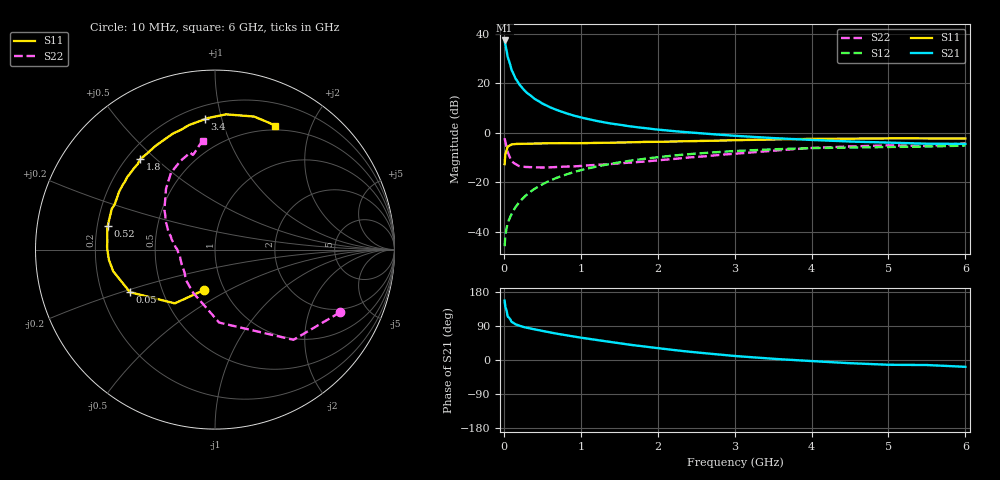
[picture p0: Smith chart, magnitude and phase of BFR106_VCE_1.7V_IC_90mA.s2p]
! Infineon Technologies  Discrete & RF Semiconductors
! BFR106
! VCE =  1.7 V,  IC =  90 mA
! Common Emitter S-Parameters:  Nov 2015
# GHz  S  MA  R  50
!  f  S11  S21  S12  S22
! GHz  MAG  ANG  MAG  ANG  MAG  ANG  MAG  ANG
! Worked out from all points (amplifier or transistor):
!   210 points, 10 MHz to 6 GHz, reference 50 ohm
!   highest |S21| = 37.3 dB at 10 MHz (marker M1)
!   |S21| within 3 dB of that: start of sweep to 28.77 MHz
!   unconditionally stable (mu >= 1): 138.8 MHz to end of sweep
!   at 185 MHz: K = 1.05, MAG = 23.2 dB, |S12| = -28.7 dB
!   at 1.52 GHz: K = 1.08, MAG = 5.8 dB, |S12| = -11.9 dB
!   at 6 GHz: K = 1.02, MAG = -0.6 dB, |S12| = -5.2 dB
!   S11 on the Smith chart (normalised r, x): 10 MHz: 0.81, -0.38; 50 MHz: 0.32, -0.21; 520 MHz: 0.24, +0.10; 1.8 GHz: 0.25, +0.45; 3.4 GHz: 0.29, +0.88; 6 GHz: 0.45, +1.51
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0.01  0.2328 -104.9  73.58 156.7  0.0051 71.8  0.7798 -26.6
0.02  0.3739 -126.8  60.56 139.6  0.0085 64.6  0.6661 -49.0
0.05  0.5293 -153.3  34.28 114.7  0.0148 59.6  0.4074 -86.7
0.1  0.58 -168.0  18.67 100.7  0.0227 65.1  0.2687 -117.2
0.15  0.5937 -174.4  12.64 94.3  0.031 68.5  0.2339 -134.0
0.2  0.5982 -178.3  9.59 90.4  0.0391 70.8  0.212 -143.3
0.24  0.6009 179.1  8.051 88.0  0.0461 71.6  0.2062 -149.8
0.26  0.6016 178.0  7.418 86.8  0.0495 72.1  0.2047 -152.4
0.3  0.601 176.5  6.416 84.9  0.0564 73.1  0.2033 -155.8
0.4  0.6066 171.9  4.855 80.7  0.0736 73.2  0.2002 -163.3
0.52  0.6122 167.5  3.784 75.9  0.094 72.3  0.1987 -168.9
0.6  0.6127 164.9  3.284 72.8  0.108 71.5  0.2001 -171.1
0.7  0.6144 161.5  2.842 68.9  0.125 70.1  0.2043 -174.2
1.02  0.6192 151.4  2.013 58.4  0.1782 65.1  0.2146 178.3
1.3  0.6292 142.7  1.628 49.8  0.2222 60.1  0.228 172.4
1.8  0.6537 129.5  1.263 36.4  0.2945 51.3  0.2593 162.7
2.02  0.6577 123.9  1.152 30.9  0.3236 47.2  0.2806 158.4
3.1  0.7128 99.9  0.851 9.2  0.4343 28.6  0.3873 135.9
3.4  0.7279 94.6  0.798 4.7  0.4563 24.0  0.4228 130.4
4.1  0.7564 84.1  0.706 -4.0  0.4918 13.6  0.4995 118.1
5.1  0.7712 72.4  0.627 -12.7  0.5179 2.1  0.5543 104.1
6  0.7674 64.0  0.596 -18.0  0.5512 -6.7  0.6107 96.5
